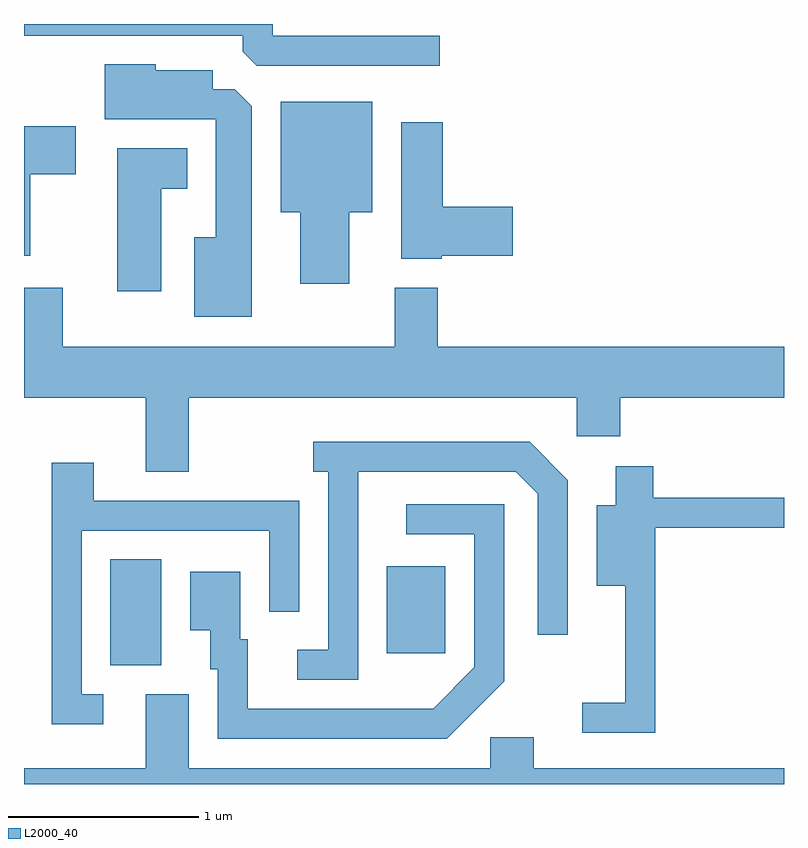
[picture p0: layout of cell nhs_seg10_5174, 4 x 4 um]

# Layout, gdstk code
import gdstk
lib = gdstk.Library(unit=1e-6, precision=1e-09)
def R(c, l, rs):  # rectangles x0, y0, x1, y1
    for r in rs: c.add(gdstk.rectangle(r[:2], r[2:], *l))
def P(c, l, *ps):  # polygons
    for p in ps: c.add(gdstk.Polygon(p, *l))
L2000_40 = (2000, 40)

nhs_seg10_5174 = lib.new_cell('nhs_seg10_5174')
R(nhs_seg10_5174, L2000_40, [(338.066,2139.146,338.334,2139.704), (339.521,2139.211,339.829,2139.669)])
P(nhs_seg10_5174, L2000_40, [(339.798,2142.459),(338.919,2142.459),(338.919,2142.522),(337.611,2142.522),(337.611,2142.461),(338.761,2142.461),(338.761,2142.377),(338.837,2142.301),(339.798,2142.301)],
  [(338.809,2142.089),(338.719,2142.179),(338.604,2142.179),(338.604,2142.279),(338.304,2142.279),(338.304,2142.309),(338.036,2142.309),(338.036,2142.021),(338.621,2142.021),(338.621,2141.399),(338.506,2141.399),(338.506,2140.981),(338.809,2140.981)],
  [(339.324,2141.531),(339.444,2141.531),(339.444,2142.114),(338.961,2142.114),(338.961,2141.531),(339.066,2141.531),(339.066,2141.156),(339.324,2141.156)],
  [(339.81,2141.301),(340.184,2141.301),(340.184,2141.559),(339.814,2141.559),(339.814,2142.004),(339.596,2142.004),(339.596,2141.286),(339.81,2141.286)],
  [(337.644,2141.731),(337.884,2141.731),(337.884,2141.984),(337.611,2141.984),(337.611,2141.301),(337.644,2141.301)],
  [(338.334,2141.656),(338.469,2141.656),(338.469,2141.869),(338.101,2141.869),(338.101,2141.116),(338.334,2141.116)],
  [(339.561,2141.134),(339.561,2140.824),(337.814,2140.824),(337.814,2141.134),(337.611,2141.134),(337.611,2140.556),(338.251,2140.556),(338.251,2140.166),(338.479,2140.166),(338.479,2140.556),(340.521,2140.556),(340.521,2140.351),(340.749,2140.351),(340.749,2140.556),(341.611,2140.556),(341.611,2140.824),(339.789,2140.824),(339.789,2141.134)],
  [(339.369,2140.166),(340.199,2140.166),(340.316,2140.049),(340.316,2139.308),(340.474,2139.308),(340.474,2140.122),(340.272,2140.324),(339.133,2140.324),(339.133,2140.166),(339.211,2140.166),(339.211,2139.229),(339.048,2139.229),(339.048,2139.071),(339.369,2139.071)],
  [(338.028,2138.994),(337.914,2138.994),(337.914,2139.856),(338.901,2139.856),(338.901,2139.428),(339.059,2139.428),(339.059,2140.014),(337.979,2140.014),(337.979,2140.214),(337.756,2140.214),(337.756,2138.836),(338.028,2138.836)],
  [(340.934,2139.871),(341.611,2139.871),(341.611,2140.029),(340.924,2140.029),(340.924,2140.194),(340.726,2140.194),(340.726,2139.989),(340.626,2139.989),(340.626,2139.566),(340.776,2139.566),(340.776,2138.949),(340.548,2138.949),(340.548,2138.791),(340.934,2138.791)],
  [(340.139,2139.064),(340.139,2139.994),(339.623,2139.994),(339.623,2139.836),(339.981,2139.836),(339.981,2139.137),(339.764,2138.919),(338.789,2138.919),(338.789,2139.284),(338.749,2139.284),(338.749,2139.639),(338.486,2139.639),(338.486,2139.331),(338.591,2139.331),(338.591,2139.126),(338.631,2139.126),(338.631,2138.761),(339.837,2138.761)],
  [(341.611,2138.604),(340.294,2138.604),(340.294,2138.769),(340.066,2138.769),(340.066,2138.604),(338.479,2138.604),(338.479,2138.994),(338.251,2138.994),(338.251,2138.604),(337.611,2138.604),(337.611,2138.522),(341.611,2138.522)])

lib.write_gds('nhs_seg10_5174.gds')
